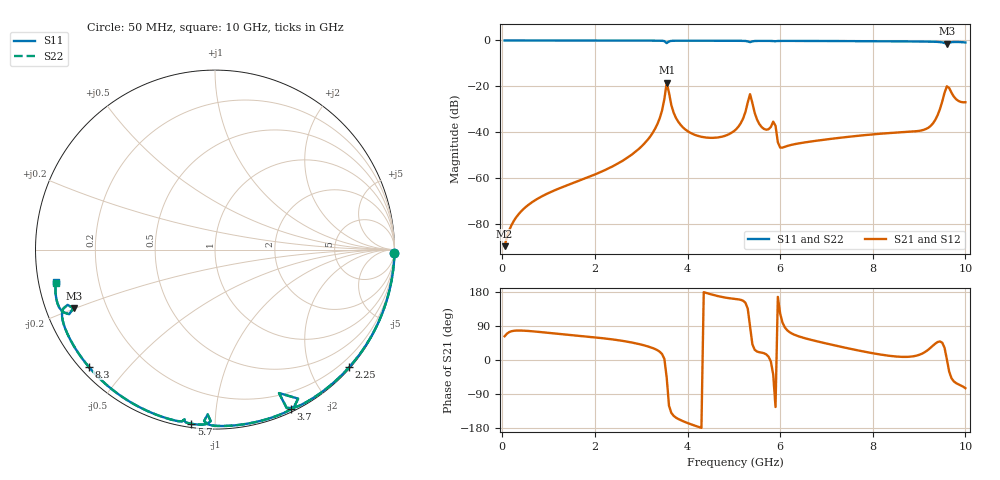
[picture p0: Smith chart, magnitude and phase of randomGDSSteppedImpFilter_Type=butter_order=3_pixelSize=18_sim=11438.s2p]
! freq	dB(S11)	phase(S11)	dB(S12)	phase(S12)
!  dB(S21)	phase(S21)	dB(S22)	phase(S22)
!S-par simulation data
#  GHz  S  DB  R 50
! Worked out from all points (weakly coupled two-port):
!   200 points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, 50 MHz to 10 GHz, reference 50 ohm
!   highest |S21| = -18.41 dB at 3.55 GHz (marker M1); lowest = -89.6 dB at 50 MHz (marker M2)
!   lowest |S11| = -1.4 dB at 9.6 GHz (marker M3), VSWR 12.56, Z = 4.14 - j9.9 ohm
!   |S11| at or under -10 dB: nowhere
!   |S22| runs from -1.4 to 0.0 dB; largest |S21 - S12| = 0
!   S11 on the Smith chart (normalised r, x): 50 MHz: open; 2.25 GHz: 0.02, -2.66; 3.7 GHz: 0.03, -1.58; 5.7 GHz: 0.02, -0.87; 8.3 GHz: 0.02, -0.39; 10 GHz: 0.05, -0.10
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0.05  -0.00 -0.9  -89.65 62.6  -89.65 62.6  -0.00 -0.9
0.8  -0.02 -14.9  -68.53 74.0  -68.53 74.0  -0.02 -14.9
1.75  -0.04 -32.2  -60.42 62.6  -60.42 62.6  -0.04 -32.2
2.25  -0.05 -41.2  -56.17 56.3  -56.17 56.3  -0.05 -41.2
3  -0.07 -54.5  -46.31 40.6  -46.31 40.6  -0.07 -54.5
3.4  -0.11 -62.3  -33.86 21.8  -33.86 21.8  -0.11 -62.3
3.55  -1.16 -66.0  -18.41 -46.5  -18.41 -46.5  -1.16 -66.0
3.7  -0.13 -64.6  -31.47 -147.3  -31.47 -147.3  -0.13 -64.6
4.25  -0.11 -74.9  -41.74 -177.1  -41.74 -177.1  -0.11 -74.9
5.05  -0.15 -88.3  -38.68 160.8  -38.68 160.8  -0.15 -88.3
5.2  -0.18 -91.1  -34.03 156.4  -34.03 156.4  -0.18 -91.1
5.35  -0.73 -92.5  -23.40 88.4  -23.40 88.4  -0.73 -92.6
5.5  -0.20 -93.9  -34.43 22.3  -34.43 22.3  -0.20 -93.9
5.7  -0.18 -97.7  -38.89 14.8  -38.89 14.8  -0.18 -97.7
5.85  -0.29 -100.5  -35.37 -38.5  -35.37 -38.5  -0.29 -100.5
6  -0.20 -101.9  -46.69 122.5  -46.69 122.5  -0.20 -101.9
6.7  -0.22 -112.9  -43.93 52.2  -43.93 52.2  -0.22 -113.0
8.3  -0.36 -137.2  -40.44 12.0  -40.44 12.0  -0.36 -137.2
8.35  -0.36 -138.0  -40.36 11.2  -40.36 11.2  -0.36 -138.0
9.25  -0.52 -153.0  -37.25 32.5  -37.25 32.5  -0.52 -153.0
9.6  -1.39 -157.5  -19.98 1.7  -19.98 1.7  -1.37 -157.5
10  -0.87 -168.4  -26.92 -74.4  -26.92 -74.4  -0.87 -168.3
